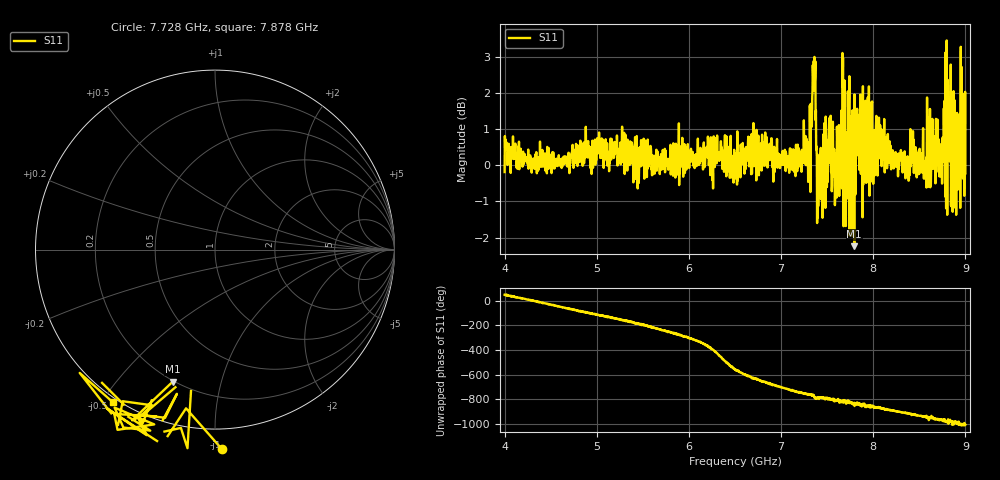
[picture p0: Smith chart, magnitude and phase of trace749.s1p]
! Created with skrf 1.8.0 (http://scikit-rf.org).
# Hz S RI R 50.0
!freq ReS11 ImS11
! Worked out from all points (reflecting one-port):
!   1601 points, 4 GHz to 9 GHz, reference 50 ohm
!   lowest |S11| = -2.2 dB at 7.794 GHz (marker M1), VSWR 7.80, Z = 9.74 - j35.6 ohm
!   phase of S11 starts at 47 deg and turns -1052 deg over the sweep
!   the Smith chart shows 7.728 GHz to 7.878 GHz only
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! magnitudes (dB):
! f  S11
! 4 GHz  -0.2
! 4.625 GHz  0.0
! 5.25 GHz  0.2
! 5.875 GHz  0.6
! 6.412 GHz  0.6
! 6.5 GHz  -0.2
! 6.647 GHz  0.1
! 7.125 GHz  0.3
! 7.294 GHz  -0.5
! 7.347 GHz  2.5
! 7.362 GHz  3.0
! 7.4 GHz  -0.3
! 7.412 GHz  -0.6
! 7.509 GHz  -0.2
! 7.591 GHz  0.3
! 7.65 GHz  0.7
! 7.75 GHz  0.1
! 7.769 GHz  0.1
! 7.794 GHz  -2.2
! 7.834 GHz  0.9
! 7.909 GHz  1.7
! 7.928 GHz  0.7
! 8.375 GHz  0.2
! 8.725 GHz  0.5
! 8.819 GHz  0.6
! 8.869 GHz  -0.3
! 8.972 GHz  1.0
! 9 GHz  -0.2
